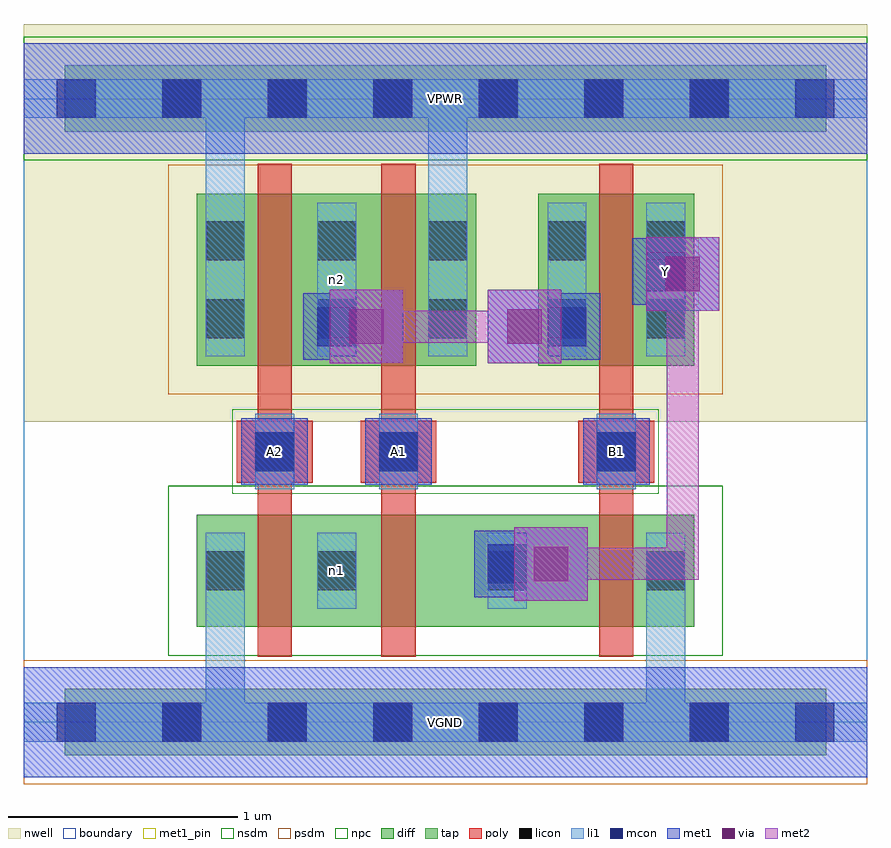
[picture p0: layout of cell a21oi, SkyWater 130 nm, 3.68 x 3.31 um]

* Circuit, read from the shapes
.subckt a21oi A1 A2 B1 VGND VPWR Y n1 n2
XM1 n1 A2 VGND VGND sky130_fd_pr__nfet_01v8 w=0.49 l=0.15
XM2 Y A1 n1 VGND sky130_fd_pr__nfet_01v8 w=0.49 l=0.15
XM3 VGND B1 Y VGND sky130_fd_pr__nfet_01v8 w=0.49 l=0.15
XM4 n2 A2 VPWR VPWR sky130_fd_pr__pfet_01v8 w=0.75 l=0.15
XM5 VPWR A1 n2 VPWR sky130_fd_pr__pfet_01v8 w=0.75 l=0.15
XM6 Y B1 n2 VPWR sky130_fd_pr__pfet_01v8 w=0.75 l=0.15
.ends

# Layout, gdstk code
import gdstk
lib = gdstk.Library(unit=1e-6, precision=1e-09)
def R(c, l, rs):  # rectangles x0, y0, x1, y1
    for r in rs: c.add(gdstk.rectangle(r[:2], r[2:], *l))
def A(c, l, x, y, w, h, nx, ny, dx, dy):  # array of equal rectangles
    R(c, l, [(x+i*dx, y+j*dy, x+i*dx+w, y+j*dy+h) for i in range(nx) for j in range(ny)])
nwell = (64, 20)
diff = (65, 20)
tap = (65, 44)
poly = (66, 20)
licon = (66, 44)
li1 = (67, 20)
mcon = (67, 44)
met1_pin = (68, 16)
met1 = (68, 20)
via = (68, 44)
met2 = (69, 20)
nsdm = (93, 44)
psdm = (94, 20)
npc = (95, 20)
boundary = (235, 4)

a21oi = lib.new_cell('a21oi')
R(a21oi, nwell, [(0,1.31,3.68,3.045)])
R(a21oi, diff, [(0.755,0.415,2.925,0.905), (0.755,1.555,1.975,2.305), (2.245,1.555,2.925,2.305)])
R(a21oi, tap, [(0.18,-0.145,3.5,0.145), (0.18,2.575,3.5,2.865)])
R(a21oi, poly, [(1.02,0.285,1.17,2.435), (1.56,0.285,1.71,2.435), (2.51,0.285,2.66,2.435), (0.93,1.045,1.26,1.315), (1.47,1.045,1.8,1.315), (2.42,1.045,2.75,1.315)])
A(a21oi, licon, 0.605, -0.085, 0.17, 0.17, 6, 2, 0.46, 2.72)
A(a21oi, licon, 0.795, 1.675, 0.17, 0.17, 3, 2, 0.485, 0.34)
R(a21oi, licon, [(0.795,0.575,0.965,0.745), (1.28,0.575,1.45,0.745), (2.025,0.575,2.195,0.745), (2.715,0.575,2.885,0.745), (1.01,1.095,1.18,1.265), (1.55,1.095,1.72,1.265), (2.5,1.095,2.67,1.265), (2.285,1.675,2.455,1.845), (2.715,1.675,2.885,1.845), (2.285,2.015,2.455,2.185), (2.715,2.015,2.885,2.185)])
A(a21oi, li1, 0.795, 1.595, 0.17, 0.67, 3, 1, 0.485, 0)
R(a21oi, li1, [(0,-0.085,3.68,0.085), (0.795,-0.085,0.965,0.825), (2.715,-0.085,2.885,0.825), (0.795,0.495,0.965,0.825), (1.28,0.495,1.45,0.825), (2.025,0.495,2.195,0.825), (2.715,0.495,2.885,0.825), (1.01,1.015,1.18,1.345), (1.55,1.015,1.72,1.345), (2.5,1.015,2.67,1.345), (0.795,1.595,0.965,2.805), (1.765,1.595,1.935,2.805), (2.285,1.595,2.455,2.265), (2.715,1.595,2.885,2.265), (0,2.635,3.68,2.805)])
A(a21oi, mcon, 0.145, -0.085, 0.17, 0.17, 8, 2, 0.46, 2.72)
R(a21oi, mcon, [(2.025,0.605,2.195,0.775), (1.01,1.095,1.18,1.265), (1.55,1.095,1.72,1.265), (2.5,1.095,2.67,1.265), (1.28,1.64,1.45,1.81), (2.285,1.64,2.455,1.81), (2.715,1.88,2.885,2.05)])
R(a21oi, met1_pin, [(0,-0.24,3.68,0.24), (0.95,1.035,1.24,1.325), (1.49,1.035,1.78,1.325), (2.44,1.035,2.73,1.325), (2.655,1.82,2.945,2.11), (0,2.48,3.68,2.96)])
R(a21oi, met1, [(0,-0.24,3.68,0.24), (2.14,0.53,2.46,0.85), (1.965,0.545,2.255,0.835), (2.04,0.62,2.37,0.76), (0.95,1.035,1.24,1.325), (1.49,1.035,1.78,1.325), (2.44,1.035,2.73,1.325), (1.335,1.565,1.655,1.885), (2.025,1.565,2.345,1.885), (1.22,1.58,1.51,1.87), (2.225,1.58,2.515,1.87), (1.295,1.655,1.565,1.795), (2.115,1.655,2.44,1.795), (2.715,1.795,3.035,2.115), (2.655,1.82,2.945,2.11), (2.805,1.885,2.945,2.025), (0,2.48,3.68,2.96)])
R(a21oi, via, [(2.225,0.615,2.375,0.765), (1.42,1.65,1.57,1.8), (2.11,1.65,2.26,1.8), (2.8,1.88,2.95,2.03)])
R(a21oi, met2, [(2.14,0.53,2.46,0.85), (2.23,0.62,2.945,0.76), (2.805,0.62,2.945,2.025), (1.335,1.565,1.655,1.885), (2.025,1.565,2.345,1.885), (1.425,1.655,2.255,1.795), (2.715,1.795,3.035,2.115)])
R(a21oi, nsdm, [(0.63,0.29,3.05,1.03), (0,2.45,3.68,2.99)])
R(a21oi, psdm, [(0,-0.27,3.68,0.27), (0.63,1.43,3.05,2.43)])
R(a21oi, npc, [(0.91,0.995,2.77,1.365)])
R(a21oi, boundary, [(0,0,3.68,2.72)])
a21oi.add(gdstk.Label('n1', (1.365,0.66), layer=67, texttype=5))
a21oi.add(gdstk.Label('n2', (1.365,1.93), layer=67, texttype=5))
a21oi.add(gdstk.Label('A1', (1.635,1.18), layer=68, texttype=5))
a21oi.add(gdstk.Label('A2', (1.095,1.18), layer=68, texttype=5))
a21oi.add(gdstk.Label('B1', (2.585,1.18), layer=68, texttype=5))
a21oi.add(gdstk.Label('Y', (2.8,1.965), layer=68, texttype=5))
a21oi.add(gdstk.Label('VPWR', (1.84,2.72), layer=68, texttype=5))
a21oi.add(gdstk.Label('VGND', (1.84,0), layer=68, texttype=5))
a21oi.add(gdstk.Label('A1', (1.635,1.18), layer=68, texttype=16))
a21oi.add(gdstk.Label('A2', (1.095,1.18), layer=68, texttype=16))
a21oi.add(gdstk.Label('B1', (2.585,1.18), layer=68, texttype=16))
a21oi.add(gdstk.Label('Y', (2.8,1.965), layer=68, texttype=16))
a21oi.add(gdstk.Label('VPWR', (1.84,2.72), layer=68, texttype=16))
a21oi.add(gdstk.Label('VGND', (1.84,0), layer=68, texttype=16))

lib.write_gds('a21oi.gds')
